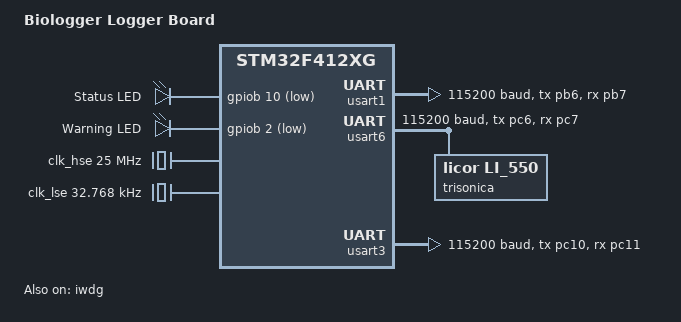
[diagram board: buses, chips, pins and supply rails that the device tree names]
/*
 * Copyright (c) 2024 Marko Vejnovic
 *
 * SPDX-License-Identifier: Apache-2.0
 */

/dts-v1/;
#include <st/f4/stm32f412Xg.dtsi>
#include <st/f4/stm32f412r(e-g)tx-pinctrl.dtsi>

/ {
    model = "Biologger Logger Board";
    compatible = "markovejnovic,biologger";

	chosen {
		zephyr,console = &usart3;
		zephyr,shell-uart = &usart3;
		zephyr,sram = &sram0;
		zephyr,flash = &flash0;
	};

    leds: leds {
        compatible = "gpio-leds";

        status_led {
            gpios = <&gpiob 10 GPIO_ACTIVE_LOW>;
            label = "Status LED";
        };

        warning_led {
            gpios = <&gpiob 2 GPIO_ACTIVE_LOW>;
            label = "Warning LED";
        };
    };
};

&clk_lsi {
    status = "okay";
};

&clk_hse {
	/delete-property/ hse-bypass;
	clock-frequency = <DT_FREQ_M(25)>; // External 25MHz clock.
	status = "okay";
};

&clk_lse {
    /delete-property/ lse-bypass;
    clock-frequency = <32768>; // External 32.768kHz clock.
    status = "okay";
};

&pll {
	div-m = <25>;
	mul-n = <384>;
	div-p = <4>;
	div-q = <8>;
	clocks = <&clk_hse>;
	status = "okay";
};

&rcc {
	clocks = <&pll>;
	clock-frequency = <DT_FREQ_M(96)>;
	ahb-prescaler = <1>;
	apb1-prescaler = <2>;
	apb2-prescaler = <1>;
};

&iwdg {
    status = "okay";
};

&usart1 {
	pinctrl-0 = <&usart1_tx_pb6 &usart1_rx_pb7>;
	pinctrl-names = "default";
	current-speed = <115200>;
	status = "okay";
};

&usart6 {
	pinctrl-0 = <&usart6_tx_pc6 &usart6_rx_pc7>;
	pinctrl-names = "default";
	current-speed = <115200>;
	status = "okay";

    trisonica: li_550 {
        compatible = "licor,li_550";
        status = "okay";
    };
};

&usart3 {
	pinctrl-0 = <&usart3_tx_pc10 &usart3_rx_pc11>;
	pinctrl-names = "default";
	current-speed = <115200>;
	status = "okay";
};
